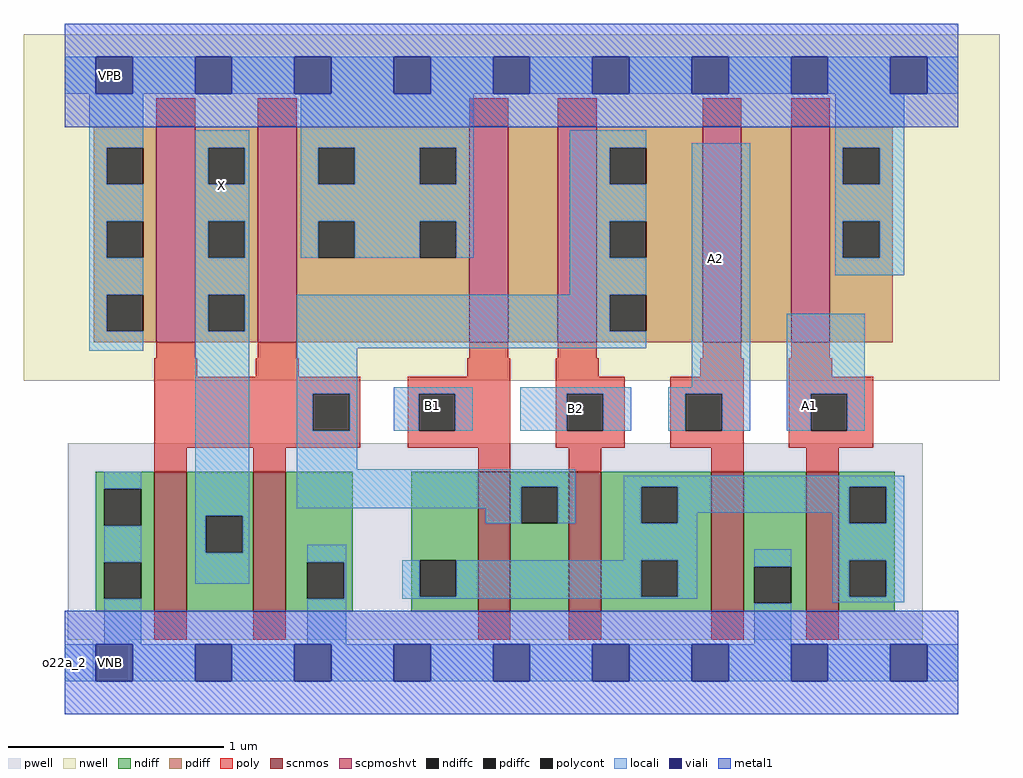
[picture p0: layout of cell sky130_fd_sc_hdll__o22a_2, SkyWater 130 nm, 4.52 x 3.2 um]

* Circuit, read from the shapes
.subckt sky130_fd_sc_hdll__o22a_2 A1 A2 B1 B2 VGND VNB VPB VPWR X
XM1 X n1 VGND VNB sky130_fd_pr__nfet_01v8 w=0.65 l=0.15 m=2
XM2 n1 B1 n2 VNB sky130_fd_pr__nfet_01v8 w=0.65 l=0.15
XM3 n2 B2 n1 VNB sky130_fd_pr__nfet_01v8 w=0.65 l=0.15
XM4 VGND A2 n2 VNB sky130_fd_pr__nfet_01v8 w=0.65 l=0.15
XM5 n2 A1 VGND VNB sky130_fd_pr__nfet_01v8 w=0.65 l=0.15
XM6 X n1 VPWR VPB sky130_fd_pr__pfet_01v8_hvt w=1 l=0.18 m=2
XM7 n3 B1 VPWR VPB sky130_fd_pr__pfet_01v8_hvt w=1 l=0.18
XM8 n1 B2 n3 VPB sky130_fd_pr__pfet_01v8_hvt w=1 l=0.18
XM9 n4 A2 n1 VPB sky130_fd_pr__pfet_01v8_hvt w=1 l=0.18
XM10 VPWR A1 n4 VPB sky130_fd_pr__pfet_01v8_hvt w=1 l=0.18
.ends

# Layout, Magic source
magic
tech sky130A
magscale 1 2
<< nwell >>
rect -38 261 866 582
<< pwell >>
rect 3 21 795 203
rect 26 -17 60 21
<< scnmos >>
rect 83 47 113 177
rect 175 47 205 177
rect 383 47 413 177
rect 467 47 497 177
rect 599 47 629 177
rect 687 47 717 177
<< scpmoshvt >>
rect 85 297 121 497
rect 179 297 215 497
rect 375 297 411 497
rect 457 297 493 497
rect 591 297 627 497
rect 673 297 709 497
<< ndiff >>
rect 29 161 83 177
rect 29 127 37 161
rect 71 127 83 161
rect 29 93 83 127
rect 29 59 37 93
rect 71 59 83 93
rect 29 47 83 59
rect 113 136 175 177
rect 113 102 131 136
rect 165 102 175 136
rect 113 47 175 102
rect 205 93 267 177
rect 205 59 225 93
rect 259 59 267 93
rect 205 47 267 59
rect 321 95 383 177
rect 321 61 329 95
rect 363 61 383 95
rect 321 47 383 61
rect 413 163 467 177
rect 413 129 423 163
rect 457 129 467 163
rect 413 47 467 129
rect 497 163 599 177
rect 497 129 534 163
rect 568 129 599 163
rect 497 95 599 129
rect 497 61 534 95
rect 568 61 599 95
rect 497 47 599 61
rect 629 89 687 177
rect 629 55 639 89
rect 673 55 687 89
rect 629 47 687 55
rect 717 163 769 177
rect 717 129 727 163
rect 761 129 769 163
rect 717 95 769 129
rect 717 61 727 95
rect 761 61 769 95
rect 717 47 769 61
<< pdiff >>
rect 27 477 85 497
rect 27 443 39 477
rect 73 443 85 477
rect 27 409 85 443
rect 27 375 39 409
rect 73 375 85 409
rect 27 341 85 375
rect 27 307 39 341
rect 73 307 85 341
rect 27 297 85 307
rect 121 477 179 497
rect 121 443 133 477
rect 167 443 179 477
rect 121 409 179 443
rect 121 375 133 409
rect 167 375 179 409
rect 121 341 179 375
rect 121 307 133 341
rect 167 307 179 341
rect 121 297 179 307
rect 215 477 375 497
rect 215 443 235 477
rect 269 443 329 477
rect 363 443 375 477
rect 215 409 375 443
rect 215 375 235 409
rect 269 375 329 409
rect 363 375 375 409
rect 215 297 375 375
rect 411 297 457 497
rect 493 477 591 497
rect 493 443 505 477
rect 539 443 591 477
rect 493 409 591 443
rect 493 375 505 409
rect 539 375 591 409
rect 493 341 591 375
rect 493 307 505 341
rect 539 307 591 341
rect 493 297 591 307
rect 627 297 673 497
rect 709 477 767 497
rect 709 443 721 477
rect 755 443 767 477
rect 709 409 767 443
rect 709 375 721 409
rect 755 375 767 409
rect 709 297 767 375
<< ndiffc >>
rect 37 127 71 161
rect 37 59 71 93
rect 131 102 165 136
rect 225 59 259 93
rect 329 61 363 95
rect 423 129 457 163
rect 534 129 568 163
rect 534 61 568 95
rect 639 55 673 89
rect 727 129 761 163
rect 727 61 761 95
<< pdiffc >>
rect 39 443 73 477
rect 39 375 73 409
rect 39 307 73 341
rect 133 443 167 477
rect 133 375 167 409
rect 133 307 167 341
rect 235 443 269 477
rect 329 443 363 477
rect 235 375 269 409
rect 329 375 363 409
rect 505 443 539 477
rect 505 375 539 409
rect 505 307 539 341
rect 721 443 755 477
rect 721 375 755 409
<< poly >>
rect 85 497 121 523
rect 179 497 215 523
rect 375 497 411 523
rect 457 497 493 523
rect 591 497 627 523
rect 673 497 709 523
rect 85 282 121 297
rect 179 282 215 297
rect 375 282 411 297
rect 457 282 493 297
rect 591 282 627 297
rect 673 282 709 297
rect 83 265 123 282
rect 177 265 217 282
rect 373 265 413 282
rect 83 249 274 265
rect 83 215 230 249
rect 264 215 274 249
rect 83 199 274 215
rect 318 249 413 265
rect 318 215 328 249
rect 362 215 413 249
rect 318 199 413 215
rect 455 265 495 282
rect 589 265 629 282
rect 455 249 519 265
rect 455 215 465 249
rect 499 215 519 249
rect 455 199 519 215
rect 561 249 629 265
rect 561 215 575 249
rect 609 215 629 249
rect 561 199 629 215
rect 671 265 711 282
rect 671 249 749 265
rect 671 215 691 249
rect 725 215 749 249
rect 671 199 749 215
rect 83 177 113 199
rect 175 177 205 199
rect 383 177 413 199
rect 467 177 497 199
rect 599 177 629 199
rect 687 177 717 199
rect 83 21 113 47
rect 175 21 205 47
rect 383 21 413 47
rect 467 21 497 47
rect 599 21 629 47
rect 687 21 717 47
<< polycont >>
rect 230 215 264 249
rect 328 215 362 249
rect 465 215 499 249
rect 575 215 609 249
rect 691 215 725 249
<< locali >>
rect 0 527 29 561
rect 63 527 121 561
rect 155 527 213 561
rect 247 527 305 561
rect 339 527 397 561
rect 431 527 489 561
rect 523 527 581 561
rect 615 527 673 561
rect 707 527 765 561
rect 799 527 828 561
rect 23 477 73 527
rect 23 443 39 477
rect 23 409 73 443
rect 23 375 39 409
rect 23 341 73 375
rect 23 307 39 341
rect 23 289 73 307
rect 121 477 171 493
rect 121 443 133 477
rect 167 443 171 477
rect 121 409 171 443
rect 121 375 133 409
rect 167 375 171 409
rect 219 477 379 527
rect 219 443 235 477
rect 269 443 329 477
rect 363 443 379 477
rect 219 409 379 443
rect 219 375 235 409
rect 269 375 329 409
rect 363 375 379 409
rect 468 477 539 493
rect 468 443 505 477
rect 468 409 539 443
rect 468 375 505 409
rect 121 341 171 375
rect 468 341 539 375
rect 121 307 133 341
rect 167 307 171 341
rect 37 161 71 177
rect 37 93 71 127
rect 121 136 171 307
rect 215 307 505 341
rect 215 291 539 307
rect 215 249 271 291
rect 581 255 635 481
rect 714 477 778 527
rect 714 443 721 477
rect 755 443 778 477
rect 714 409 778 443
rect 714 375 721 409
rect 755 375 778 409
rect 714 359 778 375
rect 215 215 230 249
rect 264 215 271 249
rect 305 249 378 255
rect 305 215 328 249
rect 362 215 378 249
rect 422 249 525 255
rect 422 215 465 249
rect 499 215 525 249
rect 559 249 635 255
rect 559 215 575 249
rect 609 215 635 249
rect 669 249 741 323
rect 669 215 691 249
rect 725 215 741 249
rect 215 179 271 215
rect 215 163 473 179
rect 215 143 423 163
rect 121 102 131 136
rect 165 102 171 136
rect 390 129 423 143
rect 457 129 473 163
rect 518 163 778 173
rect 518 129 534 163
rect 568 139 727 163
rect 568 129 586 139
rect 121 73 171 102
rect 225 93 261 109
rect 518 95 586 129
rect 711 129 727 139
rect 761 129 778 163
rect 37 17 71 59
rect 259 59 261 93
rect 313 61 329 95
rect 363 61 534 95
rect 568 61 586 95
rect 313 59 586 61
rect 639 89 673 105
rect 225 17 261 59
rect 711 95 778 129
rect 711 61 727 95
rect 761 61 778 95
rect 711 56 778 61
rect 639 17 673 55
rect 0 -17 29 17
rect 63 -17 121 17
rect 155 -17 213 17
rect 247 -17 305 17
rect 339 -17 397 17
rect 431 -17 489 17
rect 523 -17 581 17
rect 615 -17 673 17
rect 707 -17 765 17
rect 799 -17 828 17
<< viali >>
rect 29 527 63 561
rect 121 527 155 561
rect 213 527 247 561
rect 305 527 339 561
rect 397 527 431 561
rect 489 527 523 561
rect 581 527 615 561
rect 673 527 707 561
rect 765 527 799 561
rect 29 -17 63 17
rect 121 -17 155 17
rect 213 -17 247 17
rect 305 -17 339 17
rect 397 -17 431 17
rect 489 -17 523 17
rect 581 -17 615 17
rect 673 -17 707 17
rect 765 -17 799 17
<< metal1 >>
rect 0 561 828 592
rect 0 527 29 561
rect 63 527 121 561
rect 155 527 213 561
rect 247 527 305 561
rect 339 527 397 561
rect 431 527 489 561
rect 523 527 581 561
rect 615 527 673 561
rect 707 527 765 561
rect 799 527 828 561
rect 0 496 828 527
rect 0 17 828 48
rect 0 -17 29 17
rect 63 -17 121 17
rect 155 -17 213 17
rect 247 -17 305 17
rect 339 -17 397 17
rect 431 -17 489 17
rect 523 -17 581 17
rect 615 -17 673 17
rect 707 -17 765 17
rect 799 -17 828 17
rect 0 -48 828 -17
<< labels >>
flabel locali s 586 357 620 391 0 FreeSans 400 0 0 0 A2
port 2 nsew signal input
flabel locali s 128 425 162 459 0 FreeSans 400 0 0 0 X
port 9 nsew signal output
flabel locali s 324 221 358 255 0 FreeSans 400 0 0 0 B1
port 3 nsew signal input
flabel locali s 673 221 707 255 0 FreeSans 400 0 0 0 A1
port 1 nsew signal input
flabel locali s 422 215 525 255 0 FreeSans 400 0 0 0 B2
port 4 nsew signal input
flabel pwell s 26 -17 60 17 0 FreeSans 200 0 0 0 VNB
port 6 nsew ground bidirectional
flabel nwell s 26 527 60 561 0 FreeSans 200 0 0 0 VPB
port 7 nsew power bidirectional
flabel metal1 s 26 -17 60 17 0 FreeSans 200 0 0 0 VGND
port 5 nsew ground bidirectional
flabel metal1 s 26 527 60 561 0 FreeSans 200 0 0 0 VPWR
port 8 nsew power bidirectional
rlabel comment s 0 0 0 0 4 o22a_2
<< properties >>
string LEFsite unithd
string LEFclass CORE
string FIXED_BBOX 0 0 828 544
string GDS_FILE $PDKPATH/libs.ref/sky130_fd_sc_hdll/gds/sky130_fd_sc_hdll.gds
string LEFsymmetry X Y R90
string GDS_END 941794
string GDS_START 934944
string LEFproperties maskLayoutSubType "abstract" prCellType "standard" originalViewName "layout"
<< end >>
